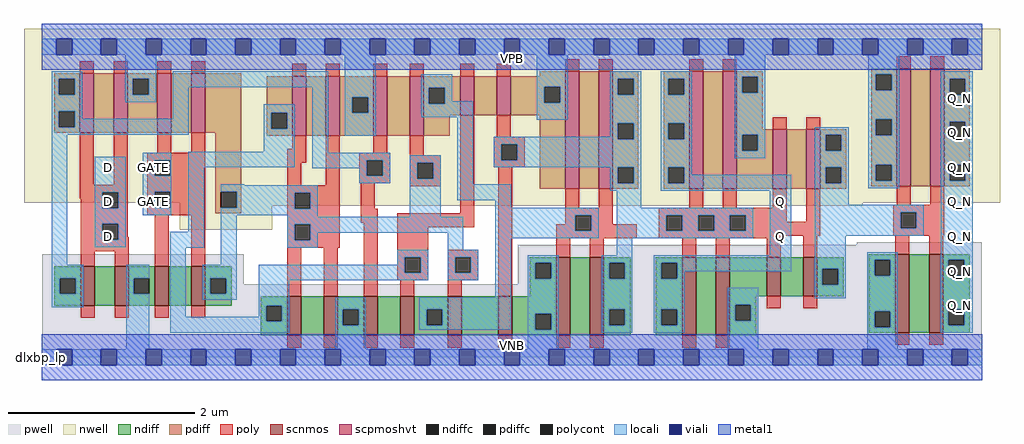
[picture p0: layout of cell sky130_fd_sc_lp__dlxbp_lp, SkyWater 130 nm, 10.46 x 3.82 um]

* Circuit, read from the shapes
.subckt sky130_fd_sc_lp__dlxbp_lp D GATE VGND VNB VPB VPWR Q Q_N
XM1 n1 D n2 VNB sky130_fd_pr__nfet_01v8 w=0.42 l=0.15
XM2 VGND D n1 VNB sky130_fd_pr__nfet_01v8 w=0.42 l=0.15
XM3 n3 GATE VGND VNB sky130_fd_pr__nfet_01v8 w=0.42 l=0.15
XM4 n4 GATE n3 VNB sky130_fd_pr__nfet_01v8 w=0.42 l=0.15
XM5 n5 n4 n6 VNB sky130_fd_pr__nfet_01v8 w=0.42 l=0.15
XM6 VGND n4 n5 VNB sky130_fd_pr__nfet_01v8 w=0.42 l=0.15
XM7 n7 n2 VGND VNB sky130_fd_pr__nfet_01v8 w=0.42 l=0.15
XM8 n8 n6 n7 VNB sky130_fd_pr__nfet_01v8 w=0.42 l=0.15
XM9 n9 n4 n8 VNB sky130_fd_pr__nfet_01v8 w=0.42 l=0.15
XM10 VGND n10 n9 VNB sky130_fd_pr__nfet_01v8 w=0.42 l=0.15
XM11 n11 n8 VGND VNB sky130_fd_pr__nfet_01v8 w=0.84 l=0.15
XM12 n10 n8 n11 VNB sky130_fd_pr__nfet_01v8 w=0.84 l=0.15
XM13 n12 n10 Q VNB sky130_fd_pr__nfet_01v8 w=0.84 l=0.15
XM14 VGND n10 n12 VNB sky130_fd_pr__nfet_01v8 w=0.84 l=0.15
XM15 n13 n10 VGND VNB sky130_fd_pr__nfet_01v8 w=0.42 l=0.15
XM16 n14 n10 n13 VNB sky130_fd_pr__nfet_01v8 w=0.42 l=0.15
XM17 n15 n14 VGND VNB sky130_fd_pr__nfet_01v8 w=0.84 l=0.15
XM18 Q_N n14 n15 VNB sky130_fd_pr__nfet_01v8 w=0.84 l=0.15
XM19 n16 D n2 VPB sky130_fd_pr__pfet_01v8_hvt w=0.64 l=0.15
XM20 VPWR D n16 VPB sky130_fd_pr__pfet_01v8_hvt w=0.64 l=0.15
XM21 n17 GATE VPWR VPB sky130_fd_pr__pfet_01v8_hvt w=0.64 l=0.15
XM22 n4 GATE n17 VPB sky130_fd_pr__pfet_01v8_hvt w=0.64 l=0.15
XM23 n18 n4 n6 VPB sky130_fd_pr__pfet_01v8_hvt w=0.64 l=0.15
XM24 VPWR n4 n18 VPB sky130_fd_pr__pfet_01v8_hvt w=0.64 l=0.15
XM25 n19 n2 VPWR VPB sky130_fd_pr__pfet_01v8_hvt w=0.64 l=0.15
XM26 n8 n4 n19 VPB sky130_fd_pr__pfet_01v8_hvt w=0.64 l=0.15
XM27 n20 n6 n8 VPB sky130_fd_pr__pfet_01v8_hvt w=0.42 l=0.15
XM28 VPWR n10 n20 VPB sky130_fd_pr__pfet_01v8_hvt w=0.42 l=0.15
XM29 n21 n8 VPWR VPB sky130_fd_pr__pfet_01v8_hvt w=1.26 l=0.15
XM30 n10 n8 n21 VPB sky130_fd_pr__pfet_01v8_hvt w=1.26 l=0.15
XM31 n22 n10 Q VPB sky130_fd_pr__pfet_01v8_hvt w=1.26 l=0.15
XM32 VPWR n10 n22 VPB sky130_fd_pr__pfet_01v8_hvt w=1.26 l=0.15
XM33 n23 n10 VPWR VPB sky130_fd_pr__pfet_01v8_hvt w=0.64 l=0.15
XM34 n14 n10 n23 VPB sky130_fd_pr__pfet_01v8_hvt w=0.64 l=0.15
XM35 n24 n14 VPWR VPB sky130_fd_pr__pfet_01v8_hvt w=1.26 l=0.15
XM36 Q_N n14 n24 VPB sky130_fd_pr__pfet_01v8_hvt w=1.26 l=0.15
.ends

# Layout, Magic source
magic
tech sky130A
magscale 1 2
<< nwell >>
rect -38 331 2054 704
rect 296 325 1760 331
rect 296 273 494 325
<< pwell >>
rect 1747 241 2015 247
rect 1 157 433 221
rect 1020 157 2015 241
rect 1 49 2015 157
rect 0 0 2016 49
<< scnmos >>
rect 84 111 114 195
rect 156 111 186 195
rect 242 111 272 195
rect 320 111 350 195
rect 526 47 556 131
rect 604 47 634 131
rect 690 47 720 131
rect 768 47 798 131
rect 870 47 900 131
rect 978 47 1008 131
rect 1103 47 1133 215
rect 1175 47 1205 215
rect 1373 47 1403 215
rect 1445 47 1475 215
rect 1554 131 1584 215
rect 1632 131 1662 215
rect 1830 53 1860 221
rect 1902 53 1932 221
<< scpmoshvt >>
rect 82 481 112 609
rect 154 481 184 609
rect 248 481 278 609
rect 320 481 350 609
rect 537 475 567 603
rect 609 475 639 603
rect 711 475 741 603
rect 789 475 819 603
rect 897 519 927 603
rect 975 519 1005 603
rect 1122 361 1152 613
rect 1194 361 1224 613
rect 1388 361 1418 613
rect 1460 361 1490 613
rect 1567 361 1597 489
rect 1639 361 1669 489
rect 1833 367 1863 619
rect 1905 367 1935 619
<< ndiff >>
rect 27 170 84 195
rect 27 136 39 170
rect 73 136 84 170
rect 27 111 84 136
rect 114 111 156 195
rect 186 170 242 195
rect 186 136 197 170
rect 231 136 242 170
rect 186 111 242 136
rect 272 111 320 195
rect 350 170 407 195
rect 350 136 361 170
rect 395 136 407 170
rect 350 111 407 136
rect 1046 203 1103 215
rect 1046 169 1058 203
rect 1092 169 1103 203
rect 1046 131 1103 169
rect 469 111 526 131
rect 469 77 481 111
rect 515 77 526 111
rect 469 47 526 77
rect 556 47 604 131
rect 634 103 690 131
rect 634 69 645 103
rect 679 69 690 103
rect 634 47 690 69
rect 720 47 768 131
rect 798 103 870 131
rect 798 69 825 103
rect 859 69 870 103
rect 798 47 870 69
rect 900 47 978 131
rect 1008 93 1103 131
rect 1008 59 1058 93
rect 1092 59 1103 93
rect 1008 47 1103 59
rect 1133 47 1175 215
rect 1205 203 1262 215
rect 1205 169 1216 203
rect 1250 169 1262 203
rect 1205 103 1262 169
rect 1205 69 1216 103
rect 1250 69 1262 103
rect 1205 47 1262 69
rect 1316 203 1373 215
rect 1316 169 1328 203
rect 1362 169 1373 203
rect 1316 103 1373 169
rect 1316 69 1328 103
rect 1362 69 1373 103
rect 1316 47 1373 69
rect 1403 47 1445 215
rect 1475 131 1554 215
rect 1584 131 1632 215
rect 1662 190 1719 215
rect 1662 156 1673 190
rect 1707 156 1719 190
rect 1662 131 1719 156
rect 1773 209 1830 221
rect 1773 175 1785 209
rect 1819 175 1830 209
rect 1475 113 1532 131
rect 1475 79 1486 113
rect 1520 79 1532 113
rect 1475 47 1532 79
rect 1773 99 1830 175
rect 1773 65 1785 99
rect 1819 65 1830 99
rect 1773 53 1830 65
rect 1860 53 1902 221
rect 1932 209 1989 221
rect 1932 175 1943 209
rect 1977 175 1989 209
rect 1932 103 1989 175
rect 1932 69 1943 103
rect 1977 69 1989 103
rect 1932 53 1989 69
<< pdiff >>
rect 27 597 82 609
rect 27 563 37 597
rect 71 563 82 597
rect 27 527 82 563
rect 27 493 37 527
rect 71 493 82 527
rect 27 481 82 493
rect 112 481 154 609
rect 184 597 248 609
rect 184 563 195 597
rect 229 563 248 597
rect 184 481 248 563
rect 278 481 320 609
rect 350 481 428 609
rect 1067 603 1122 613
rect 372 355 428 481
rect 482 524 537 603
rect 482 490 492 524
rect 526 490 537 524
rect 482 475 537 490
rect 567 475 609 603
rect 639 558 711 603
rect 639 524 666 558
rect 700 524 711 558
rect 639 475 711 524
rect 741 475 789 603
rect 819 578 897 603
rect 819 544 830 578
rect 864 544 897 578
rect 819 519 897 544
rect 927 519 975 603
rect 1005 580 1122 603
rect 1005 546 1077 580
rect 1111 546 1122 580
rect 1005 519 1122 546
rect 819 475 875 519
rect 372 321 384 355
rect 418 321 428 355
rect 372 309 428 321
rect 1067 361 1122 519
rect 1152 361 1194 613
rect 1224 597 1279 613
rect 1224 563 1235 597
rect 1269 563 1279 597
rect 1224 502 1279 563
rect 1224 468 1235 502
rect 1269 468 1279 502
rect 1224 407 1279 468
rect 1224 373 1235 407
rect 1269 373 1279 407
rect 1224 361 1279 373
rect 1333 597 1388 613
rect 1333 563 1343 597
rect 1377 563 1388 597
rect 1333 502 1388 563
rect 1333 468 1343 502
rect 1377 468 1388 502
rect 1333 407 1388 468
rect 1333 373 1343 407
rect 1377 373 1388 407
rect 1333 361 1388 373
rect 1418 361 1460 613
rect 1490 601 1545 613
rect 1490 567 1501 601
rect 1535 567 1545 601
rect 1490 489 1545 567
rect 1778 607 1833 619
rect 1778 573 1788 607
rect 1822 573 1833 607
rect 1778 510 1833 573
rect 1490 477 1567 489
rect 1490 443 1501 477
rect 1535 443 1567 477
rect 1490 361 1567 443
rect 1597 361 1639 489
rect 1669 477 1724 489
rect 1669 443 1680 477
rect 1714 443 1724 477
rect 1669 407 1724 443
rect 1669 373 1680 407
rect 1714 373 1724 407
rect 1669 361 1724 373
rect 1778 476 1788 510
rect 1822 476 1833 510
rect 1778 413 1833 476
rect 1778 379 1788 413
rect 1822 379 1833 413
rect 1778 367 1833 379
rect 1863 367 1905 619
rect 1935 597 1989 619
rect 1935 563 1946 597
rect 1980 563 1989 597
rect 1935 505 1989 563
rect 1935 471 1946 505
rect 1980 471 1989 505
rect 1935 413 1989 471
rect 1935 379 1946 413
rect 1980 379 1989 413
rect 1935 367 1989 379
<< ndiffc >>
rect 39 136 73 170
rect 197 136 231 170
rect 361 136 395 170
rect 1058 169 1092 203
rect 481 77 515 111
rect 645 69 679 103
rect 825 69 859 103
rect 1058 59 1092 93
rect 1216 169 1250 203
rect 1216 69 1250 103
rect 1328 169 1362 203
rect 1328 69 1362 103
rect 1673 156 1707 190
rect 1785 175 1819 209
rect 1486 79 1520 113
rect 1785 65 1819 99
rect 1943 175 1977 209
rect 1943 69 1977 103
<< pdiffc >>
rect 37 563 71 597
rect 37 493 71 527
rect 195 563 229 597
rect 492 490 526 524
rect 666 524 700 558
rect 830 544 864 578
rect 1077 546 1111 580
rect 384 321 418 355
rect 1235 563 1269 597
rect 1235 468 1269 502
rect 1235 373 1269 407
rect 1343 563 1377 597
rect 1343 468 1377 502
rect 1343 373 1377 407
rect 1501 567 1535 601
rect 1788 573 1822 607
rect 1501 443 1535 477
rect 1680 443 1714 477
rect 1680 373 1714 407
rect 1788 476 1822 510
rect 1788 379 1822 413
rect 1946 563 1980 597
rect 1946 471 1980 505
rect 1946 379 1980 413
<< poly >>
rect 82 609 112 635
rect 154 609 184 635
rect 248 609 278 635
rect 320 609 350 635
rect 537 603 567 629
rect 609 603 639 629
rect 711 603 741 629
rect 789 603 819 629
rect 897 603 927 629
rect 975 603 1005 629
rect 1122 613 1152 639
rect 1194 613 1224 639
rect 1388 613 1418 639
rect 1460 613 1490 639
rect 1833 619 1863 645
rect 1905 619 1935 645
rect 82 370 112 481
rect 154 370 184 481
rect 248 439 278 481
rect 320 439 350 481
rect 82 354 184 370
rect 82 340 130 354
rect 84 320 130 340
rect 164 320 184 354
rect 84 286 184 320
rect 226 423 350 439
rect 226 389 242 423
rect 276 389 350 423
rect 226 355 350 389
rect 226 321 242 355
rect 276 321 350 355
rect 226 305 350 321
rect 537 447 567 475
rect 526 417 567 447
rect 526 369 556 417
rect 609 369 639 475
rect 711 439 741 475
rect 681 423 747 439
rect 681 389 697 423
rect 731 389 747 423
rect 681 373 747 389
rect 789 433 819 475
rect 789 417 855 433
rect 789 383 805 417
rect 839 383 855 417
rect 526 353 639 369
rect 526 319 542 353
rect 576 319 639 353
rect 84 252 130 286
rect 164 257 184 286
rect 164 252 186 257
rect 84 227 186 252
rect 84 195 114 227
rect 156 195 186 227
rect 242 195 272 305
rect 320 195 350 305
rect 526 285 639 319
rect 684 319 714 373
rect 789 367 855 383
rect 684 289 720 319
rect 897 309 927 519
rect 975 473 1005 519
rect 969 457 1035 473
rect 969 423 985 457
rect 1019 423 1035 457
rect 969 407 1035 423
rect 526 251 542 285
rect 576 251 639 285
rect 526 235 639 251
rect 526 131 556 235
rect 604 131 634 235
rect 690 131 720 289
rect 762 279 927 309
rect 762 215 828 279
rect 762 181 778 215
rect 812 181 828 215
rect 762 165 828 181
rect 870 215 936 231
rect 870 181 886 215
rect 920 181 936 215
rect 870 165 936 181
rect 768 131 798 165
rect 870 131 900 165
rect 978 131 1008 407
rect 1567 489 1597 515
rect 1639 489 1669 515
rect 1122 321 1152 361
rect 1194 321 1224 361
rect 1388 321 1418 361
rect 1460 321 1490 361
rect 1567 321 1597 361
rect 1122 305 1224 321
rect 1122 285 1144 305
rect 1103 271 1144 285
rect 1178 285 1224 305
rect 1323 305 1597 321
rect 1178 271 1275 285
rect 1103 255 1275 271
rect 1323 271 1339 305
rect 1373 271 1407 305
rect 1441 271 1475 305
rect 1509 291 1597 305
rect 1639 291 1669 361
rect 1833 327 1863 367
rect 1905 327 1935 367
rect 1509 271 1669 291
rect 1323 261 1669 271
rect 1825 311 1935 327
rect 1825 277 1841 311
rect 1875 277 1935 311
rect 1825 261 1935 277
rect 1323 255 1584 261
rect 1103 215 1133 255
rect 1175 215 1205 255
rect 1373 215 1403 255
rect 1445 215 1475 255
rect 1554 215 1584 255
rect 1632 215 1662 261
rect 1830 221 1860 261
rect 1902 221 1932 261
rect 84 85 114 111
rect 156 85 186 111
rect 242 85 272 111
rect 320 85 350 111
rect 1554 105 1584 131
rect 1632 105 1662 131
rect 526 21 556 47
rect 604 21 634 47
rect 690 21 720 47
rect 768 21 798 47
rect 870 21 900 47
rect 978 21 1008 47
rect 1103 21 1133 47
rect 1175 21 1205 47
rect 1373 21 1403 47
rect 1445 21 1475 47
rect 1830 27 1860 53
rect 1902 27 1932 53
<< polycont >>
rect 130 320 164 354
rect 242 389 276 423
rect 242 321 276 355
rect 697 389 731 423
rect 805 383 839 417
rect 542 319 576 353
rect 130 252 164 286
rect 985 423 1019 457
rect 542 251 576 285
rect 778 181 812 215
rect 886 181 920 215
rect 1144 271 1178 305
rect 1339 271 1373 305
rect 1407 271 1441 305
rect 1475 271 1509 305
rect 1841 277 1875 311
<< locali >>
rect 0 649 31 683
rect 65 649 127 683
rect 161 649 223 683
rect 257 649 319 683
rect 353 649 415 683
rect 449 649 511 683
rect 545 649 607 683
rect 641 649 703 683
rect 737 649 799 683
rect 833 649 895 683
rect 929 649 991 683
rect 1025 649 1087 683
rect 1121 649 1183 683
rect 1217 649 1279 683
rect 1313 649 1375 683
rect 1409 649 1471 683
rect 1505 649 1567 683
rect 1601 649 1663 683
rect 1697 649 1759 683
rect 1793 649 1855 683
rect 1889 649 1951 683
rect 1985 649 2016 683
rect 21 597 87 613
rect 21 563 37 597
rect 71 563 87 597
rect 21 527 87 563
rect 179 597 245 649
rect 179 563 195 597
rect 229 563 245 597
rect 179 547 245 563
rect 281 579 614 613
rect 21 493 37 527
rect 71 511 87 527
rect 281 511 315 579
rect 71 493 315 511
rect 21 477 315 493
rect 476 524 542 543
rect 476 490 492 524
rect 526 490 542 524
rect 21 199 55 477
rect 476 441 542 490
rect 114 354 180 430
rect 114 320 130 354
rect 164 320 180 354
rect 114 286 180 320
rect 217 423 278 439
rect 217 389 242 423
rect 276 389 278 423
rect 217 355 278 389
rect 217 321 242 355
rect 276 321 278 355
rect 217 305 278 321
rect 314 407 542 441
rect 580 439 614 579
rect 650 558 716 649
rect 650 524 666 558
rect 700 524 716 558
rect 650 475 716 524
rect 814 578 880 607
rect 814 544 830 578
rect 864 549 880 578
rect 1061 580 1127 649
rect 864 544 925 549
rect 814 515 925 544
rect 580 423 747 439
rect 114 252 130 286
rect 164 252 180 286
rect 314 269 348 407
rect 580 405 697 423
rect 681 389 697 405
rect 731 389 747 423
rect 681 373 747 389
rect 789 417 855 433
rect 789 383 805 417
rect 839 383 855 417
rect 114 236 180 252
rect 275 235 348 269
rect 384 369 434 371
rect 384 355 592 369
rect 418 353 592 355
rect 418 321 542 353
rect 384 319 542 321
rect 576 319 592 353
rect 384 305 592 319
rect 21 170 89 199
rect 21 136 39 170
rect 73 136 89 170
rect 21 107 89 136
rect 181 170 231 199
rect 181 136 197 170
rect 181 17 231 136
rect 275 87 309 235
rect 384 199 418 305
rect 526 301 592 305
rect 789 301 855 383
rect 891 371 925 515
rect 1061 546 1077 580
rect 1111 546 1127 580
rect 1061 509 1127 546
rect 1219 597 1285 613
rect 1219 563 1235 597
rect 1269 563 1285 597
rect 1219 502 1285 563
rect 1219 473 1235 502
rect 969 468 1235 473
rect 1269 468 1285 502
rect 969 457 1285 468
rect 969 423 985 457
rect 1019 423 1285 457
rect 969 407 1285 423
rect 1219 373 1235 407
rect 1269 373 1285 407
rect 891 337 1006 371
rect 1219 357 1285 373
rect 1327 597 1393 613
rect 1327 563 1343 597
rect 1377 563 1393 597
rect 1327 502 1393 563
rect 1327 468 1343 502
rect 1377 468 1393 502
rect 1327 407 1393 468
rect 1485 601 1551 649
rect 1485 567 1501 601
rect 1535 567 1551 601
rect 1485 477 1551 567
rect 1772 607 1838 649
rect 1772 573 1788 607
rect 1822 573 1838 607
rect 1772 510 1838 573
rect 1485 443 1501 477
rect 1535 443 1551 477
rect 1485 427 1551 443
rect 1657 477 1730 493
rect 1657 443 1680 477
rect 1714 443 1730 477
rect 1327 373 1343 407
rect 1377 391 1393 407
rect 1657 407 1730 443
rect 1377 373 1607 391
rect 1327 357 1607 373
rect 972 321 1006 337
rect 1232 321 1285 357
rect 972 305 1194 321
rect 526 285 904 301
rect 526 251 542 285
rect 576 267 904 285
rect 576 251 592 267
rect 526 235 592 251
rect 870 231 904 267
rect 972 271 1144 305
rect 1178 271 1194 305
rect 972 255 1194 271
rect 1232 305 1525 321
rect 1232 271 1339 305
rect 1373 271 1407 305
rect 1441 271 1475 305
rect 1509 271 1525 305
rect 1232 255 1525 271
rect 762 215 828 231
rect 762 199 778 215
rect 345 170 418 199
rect 345 136 361 170
rect 395 136 418 170
rect 345 123 418 136
rect 465 181 778 199
rect 812 181 828 215
rect 465 165 828 181
rect 870 215 936 231
rect 870 181 886 215
rect 920 181 936 215
rect 870 165 936 181
rect 465 111 531 165
rect 972 129 1006 255
rect 1232 219 1266 255
rect 1561 219 1607 357
rect 465 87 481 111
rect 275 77 481 87
rect 515 77 531 111
rect 275 53 531 77
rect 629 103 695 129
rect 629 69 645 103
rect 679 69 695 103
rect 629 17 695 69
rect 809 103 1006 129
rect 809 69 825 103
rect 859 69 1006 103
rect 809 59 1006 69
rect 1042 203 1108 219
rect 1042 169 1058 203
rect 1092 169 1108 203
rect 1042 93 1108 169
rect 1042 59 1058 93
rect 1092 59 1108 93
rect 1042 17 1108 59
rect 1200 203 1266 219
rect 1200 169 1216 203
rect 1250 169 1266 203
rect 1200 103 1266 169
rect 1200 69 1216 103
rect 1250 69 1266 103
rect 1200 53 1266 69
rect 1312 203 1607 219
rect 1312 169 1328 203
rect 1362 185 1607 203
rect 1657 373 1680 407
rect 1714 373 1730 407
rect 1657 327 1730 373
rect 1772 476 1788 510
rect 1822 476 1838 510
rect 1772 413 1838 476
rect 1772 379 1788 413
rect 1822 379 1838 413
rect 1772 363 1838 379
rect 1927 597 1996 613
rect 1927 563 1946 597
rect 1980 563 1996 597
rect 1927 505 1996 563
rect 1927 471 1946 505
rect 1980 471 1996 505
rect 1927 413 1996 471
rect 1927 379 1946 413
rect 1980 379 1996 413
rect 1657 311 1891 327
rect 1657 277 1841 311
rect 1875 277 1891 311
rect 1657 261 1891 277
rect 1657 190 1723 261
rect 1362 169 1378 185
rect 1312 103 1378 169
rect 1657 156 1673 190
rect 1707 156 1723 190
rect 1312 69 1328 103
rect 1362 69 1378 103
rect 1312 53 1378 69
rect 1470 113 1536 149
rect 1657 127 1723 156
rect 1769 209 1835 225
rect 1769 175 1785 209
rect 1819 175 1835 209
rect 1470 79 1486 113
rect 1520 79 1536 113
rect 1470 17 1536 79
rect 1769 99 1835 175
rect 1769 65 1785 99
rect 1819 65 1835 99
rect 1769 17 1835 65
rect 1927 209 1996 379
rect 1927 175 1943 209
rect 1977 175 1996 209
rect 1927 103 1996 175
rect 1927 69 1943 103
rect 1977 69 1996 103
rect 1927 53 1996 69
rect 0 -17 31 17
rect 65 -17 127 17
rect 161 -17 223 17
rect 257 -17 319 17
rect 353 -17 415 17
rect 449 -17 511 17
rect 545 -17 607 17
rect 641 -17 703 17
rect 737 -17 799 17
rect 833 -17 895 17
rect 929 -17 991 17
rect 1025 -17 1087 17
rect 1121 -17 1183 17
rect 1217 -17 1279 17
rect 1313 -17 1375 17
rect 1409 -17 1471 17
rect 1505 -17 1567 17
rect 1601 -17 1663 17
rect 1697 -17 1759 17
rect 1793 -17 1855 17
rect 1889 -17 1951 17
rect 1985 -17 2016 17
<< viali >>
rect 31 649 65 683
rect 127 649 161 683
rect 223 649 257 683
rect 319 649 353 683
rect 415 649 449 683
rect 511 649 545 683
rect 607 649 641 683
rect 703 649 737 683
rect 799 649 833 683
rect 895 649 929 683
rect 991 649 1025 683
rect 1087 649 1121 683
rect 1183 649 1217 683
rect 1279 649 1313 683
rect 1375 649 1409 683
rect 1471 649 1505 683
rect 1567 649 1601 683
rect 1663 649 1697 683
rect 1759 649 1793 683
rect 1855 649 1889 683
rect 1951 649 1985 683
rect 31 -17 65 17
rect 127 -17 161 17
rect 223 -17 257 17
rect 319 -17 353 17
rect 415 -17 449 17
rect 511 -17 545 17
rect 607 -17 641 17
rect 703 -17 737 17
rect 799 -17 833 17
rect 895 -17 929 17
rect 991 -17 1025 17
rect 1087 -17 1121 17
rect 1183 -17 1217 17
rect 1279 -17 1313 17
rect 1375 -17 1409 17
rect 1471 -17 1505 17
rect 1567 -17 1601 17
rect 1663 -17 1697 17
rect 1759 -17 1793 17
rect 1855 -17 1889 17
rect 1951 -17 1985 17
<< metal1 >>
rect 0 683 2016 715
rect 0 649 31 683
rect 65 649 127 683
rect 161 649 223 683
rect 257 649 319 683
rect 353 649 415 683
rect 449 649 511 683
rect 545 649 607 683
rect 641 649 703 683
rect 737 649 799 683
rect 833 649 895 683
rect 929 649 991 683
rect 1025 649 1087 683
rect 1121 649 1183 683
rect 1217 649 1279 683
rect 1313 649 1375 683
rect 1409 649 1471 683
rect 1505 649 1567 683
rect 1601 649 1663 683
rect 1697 649 1759 683
rect 1793 649 1855 683
rect 1889 649 1951 683
rect 1985 649 2016 683
rect 0 617 2016 649
rect 0 17 2016 49
rect 0 -17 31 17
rect 65 -17 127 17
rect 161 -17 223 17
rect 257 -17 319 17
rect 353 -17 415 17
rect 449 -17 511 17
rect 545 -17 607 17
rect 641 -17 703 17
rect 737 -17 799 17
rect 833 -17 895 17
rect 929 -17 991 17
rect 1025 -17 1087 17
rect 1121 -17 1183 17
rect 1217 -17 1279 17
rect 1313 -17 1375 17
rect 1409 -17 1471 17
rect 1505 -17 1567 17
rect 1601 -17 1663 17
rect 1697 -17 1759 17
rect 1793 -17 1855 17
rect 1889 -17 1951 17
rect 1985 -17 2016 17
rect 0 -49 2016 -17
<< labels >>
flabel pwell s 0 0 2016 49 0 FreeSans 200 0 0 0 VNB
port 4 nsew ground bidirectional
flabel nwell s 0 617 2016 666 0 FreeSans 200 0 0 0 VPB
port 5 nsew power bidirectional
rlabel comment s 0 0 0 0 4 dlxbp_lp
flabel metal1 s 0 617 2016 666 0 FreeSans 340 0 0 0 VPWR
port 6 nsew power bidirectional
flabel metal1 s 0 0 2016 49 0 FreeSans 340 0 0 0 VGND
port 3 nsew ground bidirectional
flabel locali s 223 316 257 350 0 FreeSans 340 0 0 0 GATE
port 2 nsew clock input
flabel locali s 223 390 257 424 0 FreeSans 340 0 0 0 GATE
port 2 nsew clock input
flabel locali s 127 242 161 276 0 FreeSans 340 0 0 0 D
port 1 nsew signal input
flabel locali s 127 316 161 350 0 FreeSans 340 0 0 0 D
port 1 nsew signal input
flabel locali s 127 390 161 424 0 FreeSans 340 0 0 0 D
port 1 nsew signal input
flabel locali s 1951 94 1985 128 0 FreeSans 340 0 0 0 Q_N
port 8 nsew signal output
flabel locali s 1951 168 1985 202 0 FreeSans 340 0 0 0 Q_N
port 8 nsew signal output
flabel locali s 1951 242 1985 276 0 FreeSans 340 0 0 0 Q_N
port 8 nsew signal output
flabel locali s 1951 316 1985 350 0 FreeSans 340 0 0 0 Q_N
port 8 nsew signal output
flabel locali s 1951 390 1985 424 0 FreeSans 340 0 0 0 Q_N
port 8 nsew signal output
flabel locali s 1951 464 1985 498 0 FreeSans 340 0 0 0 Q_N
port 8 nsew signal output
flabel locali s 1951 538 1985 572 0 FreeSans 340 0 0 0 Q_N
port 8 nsew signal output
flabel locali s 1567 242 1601 276 0 FreeSans 340 0 0 0 Q
port 7 nsew signal output
flabel locali s 1567 316 1601 350 0 FreeSans 340 0 0 0 Q
port 7 nsew signal output
<< properties >>
string LEFsite unit
string LEFclass CORE
string FIXED_BBOX 0 0 2016 666
string GDS_FILE $PDKPATH/libs.ref/sky130_fd_sc_lp/gds/sky130_fd_sc_lp.gds
string LEFsymmetry X Y R90
string GDS_END 2307856
string GDS_START 2293500
<< end >>
